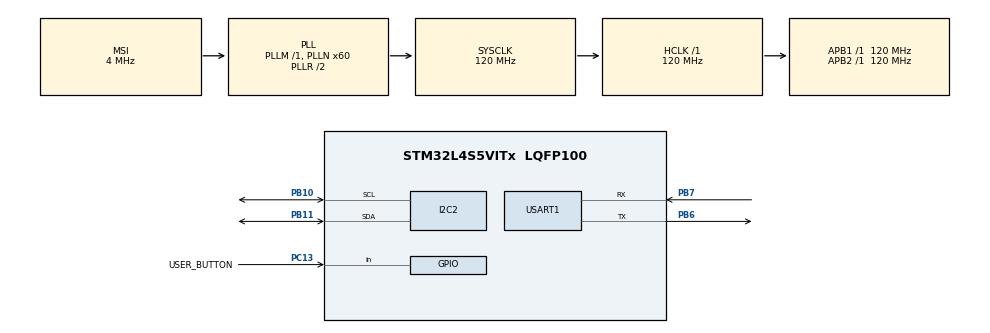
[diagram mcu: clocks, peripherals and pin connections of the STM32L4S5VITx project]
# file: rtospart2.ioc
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FREERTOS.Mutexes01=myMutex01,Dynamic,NULL
FREERTOS.Tasks01=button,0,128,StartButtonTask,Default,NULL,Dynamic,NULL,NULL;transmit,2,128,StartTransmitTask,Default,NULL,Dynamic,NULL,NULL;read,1,300,StartReadTask,Default,NULL,Dynamic,NULL,NULL
I2C2.Timing=0x307075B1
Mcu.Family=STM32L4
Mcu.Name=STM32L4S5VITx
Mcu.Package=LQFP100
NVIC.PriorityGroup=NVIC_PRIORITYGROUP_4
NVIC.TIM6_DAC_IRQn=true\:0\:0\:false\:false\:true\:false\:false\:true
NVIC.TimeBase=TIM6_DAC_IRQn
NVIC.TimeBaseIP=TIM6
PB10.Mode=I2C
PB10.Signal=I2C2_SCL
PB11.Mode=I2C
PB11.Signal=I2C2_SDA
PB6.Mode=Asynchronous
PB6.Signal=USART1_TX
PB7.Mode=Asynchronous
PB7.Signal=USART1_RX
PC13.GPIO_Label=USER_BUTTON
PC13.Signal=GPIO_Input
ProjectManager.HeapSize=0x200
ProjectManager.StackSize=0x400
ProjectManager.TargetToolchain=STM32CubeIDE
RCC.ADCFreq_Value=48000000
RCC.AHBFreq_Value=120000000
RCC.APB1Freq_Value=120000000
RCC.APB1TimFreq_Value=120000000
RCC.APB2Freq_Value=120000000
RCC.APB2TimFreq_Value=120000000
RCC.CortexFreq_Value=120000000
RCC.HCLKFreq_Value=120000000
RCC.HSE_VALUE=8000000
RCC.HSI48_VALUE=48000000
RCC.HSI_VALUE=16000000
RCC.LSE_VALUE=32768
RCC.MSI_VALUE=4000000
RCC.PLLN=60
RCC.PLLSAI1N=24
RCC.SYSCLKFreq_VALUE=120000000
RCC.SYSCLKSource=RCC_SYSCLKSOURCE_PLLCLK
RCC.USBFreq_Value=48000000
RCC.VCOOutputFreq_Value=240000000
USART1.VirtualMode-Asynchronous=VM_ASYNC
VP_FREERTOS_VS_CMSIS_V1.Mode=CMSIS_V1
VP_SYS_VS_tim6.Mode=TIM6
board=B-L4S5I-IOT01A

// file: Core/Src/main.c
/* USER CODE BEGIN Header */
/**
 ******************************************************************************
 * @file           : main.c
 * @brief          : Main program body
 ******************************************************************************
 * @attention
 *
 * <h2><center>&copy; Copyright (c) 2021 STMicroelectronics.
 * All rights reserved.</center></h2>
 *
 * This software component is licensed by ST under Ultimate Liberty license
 * SLA0044, the "License"; You may not use this file except in compliance with
 * the License. You may obtain a copy of the License at:
 *                             www.st.com/SLA0044
 *
 ******************************************************************************
 */
/* USER CODE END Header */
#include "main.h"
#include "cmsis_os.h"

I2C_HandleTypeDef hi2c2;

UART_HandleTypeDef huart1;

osThreadId buttonHandle;
osThreadId transmitHandle;
osThreadId readHandle;
osMutexId myMutex01Handle;
/* USER CODE BEGIN PV */
int counter = 0;
char global_buffer[100];
float humidity;
uint16_t magneto_values[3];
float gyro_values[3];
float pressure;
/* USER CODE END PV */

void SystemClock_Config(void);
static void MX_GPIO_Init(void);
static void MX_I2C2_Init(void);
static void MX_USART1_UART_Init(void);
void StartButtonTask(void const * argument);
void StartTransmitTask(void const * argument);
void StartReadTask(void const * argument);

int main(void)
{

  /* MCU Configuration--------------------------------------------------------*/

  /* Reset of all peripherals, Initializes the Flash interface and the Systick. */
  HAL_Init();

  /* Configure the system clock */
  SystemClock_Config();

  /* Initialize all configured peripherals */
  MX_GPIO_Init();
  MX_I2C2_Init();
  MX_USART1_UART_Init();
  /* USER CODE BEGIN 2 */
	BSP_HSENSOR_Init(); //humidity sensor
	BSP_MAGNETO_Init(); //magnetometer
	BSP_GYRO_Init(); //gyroscope
	BSP_PSENSOR_Init(); //barometer
  /* USER CODE END 2 */

  /* Create the mutex(es) */
  /* definition and creation of myMutex01 */
  osMutexDef(myMutex01);
  myMutex01Handle = osMutexCreate(osMutex(myMutex01));

  /* Create the thread(s) */
  /* definition and creation of button */
  osThreadDef(button, StartButtonTask, osPriorityNormal, 0, 128);
  buttonHandle = osThreadCreate(osThread(button), NULL);

  /* definition and creation of transmit */
  osThreadDef(transmit, StartTransmitTask, osPriorityHigh, 0, 128);
  transmitHandle = osThreadCreate(osThread(transmit), NULL);

  /* definition and creation of read */
  osThreadDef(read, StartReadTask, osPriorityAboveNormal, 0, 300);
  readHandle = osThreadCreate(osThread(read), NULL);

  /* Start scheduler */
  osKernelStart();

  /* We should never get here as control is now taken by the scheduler */
  /* Infinite loop */
	while (1) {

	}
}

void SystemClock_Config(void)
{
  RCC_OscInitTypeDef RCC_OscInitStruct = {0};
  RCC_ClkInitTypeDef RCC_ClkInitStruct = {0};
  RCC_PeriphCLKInitTypeDef PeriphClkInit = {0};

  /** Configure the main internal regulator output voltage
  */
  if (HAL_PWREx_ControlVoltageScaling(PWR_REGULATOR_VOLTAGE_SCALE1_BOOST) != HAL_OK)
  {
    Error_Handler();
  }
  /** Initializes the RCC Oscillators according to the specified parameters
  * in the RCC_OscInitTypeDef structure.
  */
  RCC_OscInitStruct.OscillatorType = RCC_OSCILLATORTYPE_MSI;
  RCC_OscInitStruct.MSIState = RCC_MSI_ON;
  RCC_OscInitStruct.MSICalibrationValue = 0;
  RCC_OscInitStruct.MSIClockRange = RCC_MSIRANGE_6;
  RCC_OscInitStruct.PLL.PLLState = RCC_PLL_ON;
  RCC_OscInitStruct.PLL.PLLSource = RCC_PLLSOURCE_MSI;
  RCC_OscInitStruct.PLL.PLLM = 1;
  RCC_OscInitStruct.PLL.PLLN = 60;
  RCC_OscInitStruct.PLL.PLLP = RCC_PLLP_DIV2;
  RCC_OscInitStruct.PLL.PLLQ = RCC_PLLQ_DIV2;
  RCC_OscInitStruct.PLL.PLLR = RCC_PLLR_DIV2;
  if (HAL_RCC_OscConfig(&RCC_OscInitStruct) != HAL_OK)
  {
    Error_Handler();
  }
  /** Initializes the CPU, AHB and APB buses clocks
  */
  RCC_ClkInitStruct.ClockType = RCC_CLOCKTYPE_HCLK|RCC_CLOCKTYPE_SYSCLK
                              |RCC_CLOCKTYPE_PCLK1|RCC_CLOCKTYPE_PCLK2;
  RCC_ClkInitStruct.SYSCLKSource = RCC_SYSCLKSOURCE_PLLCLK;
  RCC_ClkInitStruct.AHBCLKDivider = RCC_SYSCLK_DIV1;
  RCC_ClkInitStruct.APB1CLKDivider = RCC_HCLK_DIV1;
  RCC_ClkInitStruct.APB2CLKDivider = RCC_HCLK_DIV1;

  if (HAL_RCC_ClockConfig(&RCC_ClkInitStruct, FLASH_LATENCY_5) != HAL_OK)
  {
    Error_Handler();
  }
  PeriphClkInit.PeriphClockSelection = RCC_PERIPHCLK_USART1|RCC_PERIPHCLK_I2C2;
  PeriphClkInit.Usart1ClockSelection = RCC_USART1CLKSOURCE_PCLK2;
  PeriphClkInit.I2c2ClockSelection = RCC_I2C2CLKSOURCE_PCLK1;
  if (HAL_RCCEx_PeriphCLKConfig(&PeriphClkInit) != HAL_OK)
  {
    Error_Handler();
  }
}

static void MX_I2C2_Init(void)
{

  hi2c2.Instance = I2C2;
  hi2c2.Init.Timing = 0x307075B1;
  hi2c2.Init.OwnAddress1 = 0;
  hi2c2.Init.AddressingMode = I2C_ADDRESSINGMODE_7BIT;
  hi2c2.Init.DualAddressMode = I2C_DUALADDRESS_DISABLE;
  hi2c2.Init.OwnAddress2 = 0;
  hi2c2.Init.OwnAddress2Masks = I2C_OA2_NOMASK;
  hi2c2.Init.GeneralCallMode = I2C_GENERALCALL_DISABLE;
  hi2c2.Init.NoStretchMode = I2C_NOSTRETCH_DISABLE;
  if (HAL_I2C_Init(&hi2c2) != HAL_OK)
  {
    Error_Handler();
  }
  /** Configure Analogue filter
  */
  if (HAL_I2CEx_ConfigAnalogFilter(&hi2c2, I2C_ANALOGFILTER_ENABLE) != HAL_OK)
  {
    Error_Handler();
  }
  /** Configure Digital filter
  */
  if (HAL_I2CEx_ConfigDigitalFilter(&hi2c2, 0) != HAL_OK)
  {
    Error_Handler();
  }

}

static void MX_USART1_UART_Init(void)
{

  huart1.Instance = USART1;
  huart1.Init.BaudRate = 115200;
  huart1.Init.WordLength = UART_WORDLENGTH_8B;
  huart1.Init.StopBits = UART_STOPBITS_1;
  huart1.Init.Parity = UART_PARITY_NONE;
  huart1.Init.Mode = UART_MODE_TX_RX;
  huart1.Init.HwFlowCtl = UART_HWCONTROL_NONE;
  huart1.Init.OverSampling = UART_OVERSAMPLING_16;
  huart1.Init.OneBitSampling = UART_ONE_BIT_SAMPLE_DISABLE;
  huart1.Init.ClockPrescaler = UART_PRESCALER_DIV1;
  huart1.AdvancedInit.AdvFeatureInit = UART_ADVFEATURE_NO_INIT;
  if (HAL_UART_Init(&huart1) != HAL_OK)
  {
    Error_Handler();
  }
  if (HAL_UARTEx_SetTxFifoThreshold(&huart1, UART_TXFIFO_THRESHOLD_1_8) != HAL_OK)
  {
    Error_Handler();
  }
  if (HAL_UARTEx_SetRxFifoThreshold(&huart1, UART_RXFIFO_THRESHOLD_1_8) != HAL_OK)
  {
    Error_Handler();
  }
  if (HAL_UARTEx_DisableFifoMode(&huart1) != HAL_OK)
  {
    Error_Handler();
  }

}

static void MX_GPIO_Init(void)
{
  GPIO_InitTypeDef GPIO_InitStruct = {0};

  /* GPIO Ports Clock Enable */
  __HAL_RCC_GPIOC_CLK_ENABLE();
  __HAL_RCC_GPIOB_CLK_ENABLE();

  /*Configure GPIO pin : USER_BUTTON_Pin */
  GPIO_InitStruct.Pin = USER_BUTTON_Pin;
  GPIO_InitStruct.Mode = GPIO_MODE_INPUT;
  GPIO_InitStruct.Pull = GPIO_NOPULL;
  HAL_GPIO_Init(USER_BUTTON_GPIO_Port, &GPIO_InitStruct);

}

void StartButtonTask(void const * argument)
{
  /* USER CODE BEGIN 5 */
	/* Infinite loop */
	for (;;) {
		osDelay(200);
		if (HAL_GPIO_ReadPin(USER_BUTTON_GPIO_Port, USER_BUTTON_Pin) == 0) { // button is active low
			osMutexWait(myMutex01Handle, 0);
			counter++;
			counter = counter % 4;
			osMutexRelease(myMutex01Handle);
		}

	}
  /* USER CODE END 5 */
}

void StartTransmitTask(void const * argument)
{
  /* USER CODE BEGIN StartTransmitTask */
	/* Infinite loop */
	for (;;) {
		osDelay(1000);
		osMutexWait(myMutex01Handle, 0);
		HAL_UART_Transmit(&huart1, (uint8_t*) global_buffer,
				sizeof(global_buffer), 1000);
		osMutexRelease(myMutex01Handle);
	}
  /* USER CODE END StartTransmitTask */
}

void StartReadTask(void const * argument)
{
  /* USER CODE BEGIN StartReadTask */
	/* Infinite loop */
	for (;;) {
		osDelay(200);
		osMutexWait(myMutex01Handle, 0);
		if (counter == 0) {
			humidity = BSP_HSENSOR_ReadHumidity();
			memset(global_buffer, 0, sizeof(global_buffer));
			sprintf(global_buffer, "Humidity is %d ", (int) humidity);
		} else if (counter == 1) {
			BSP_MAGNETO_GetXYZ(magneto_values);
			memset(global_buffer, 0, sizeof(global_buffer));
			sprintf(global_buffer, "Magnetometer values are %d, %d, %d ",
					(int) magneto_values[0], (int) magneto_values[1],
					(int) magneto_values[2]);

		} else if (counter == 2) {
			BSP_GYRO_GetXYZ(gyro_values);
			memset(global_buffer, 0, sizeof(global_buffer));
			sprintf(global_buffer, "Gyro values are %d, %d, %d ",
					(int) gyro_values[0], (int) gyro_values[1],
					(int) gyro_values[2]);

		} else if (counter == 3) {
			pressure = BSP_PSENSOR_ReadPressure();
			memset(global_buffer, 0, sizeof(global_buffer));
			sprintf(global_buffer, "Pressure is %d ", (int) pressure);

		}
		osMutexRelease(myMutex01Handle);

	}
  /* USER CODE END StartReadTask */
}

 /**
  * @brief  Period elapsed callback in non blocking mode
  * @note   This function is called  when TIM6 interrupt took place, inside
  * HAL_TIM_IRQHandler(). It makes a direct call to HAL_IncTick() to increment
  * a global variable "uwTick" used as application time base.
  * @param  htim : TIM handle
  * @retval None
  */
void HAL_TIM_PeriodElapsedCallback(TIM_HandleTypeDef *htim)
{
  if (htim->Instance == TIM6) {
    HAL_IncTick();
  }
}

void Error_Handler(void)
{
	__disable_irq();
	while (1) {
	}
}

/************************ (C) COPYRIGHT STMicroelectronics *****END OF FILE****/
